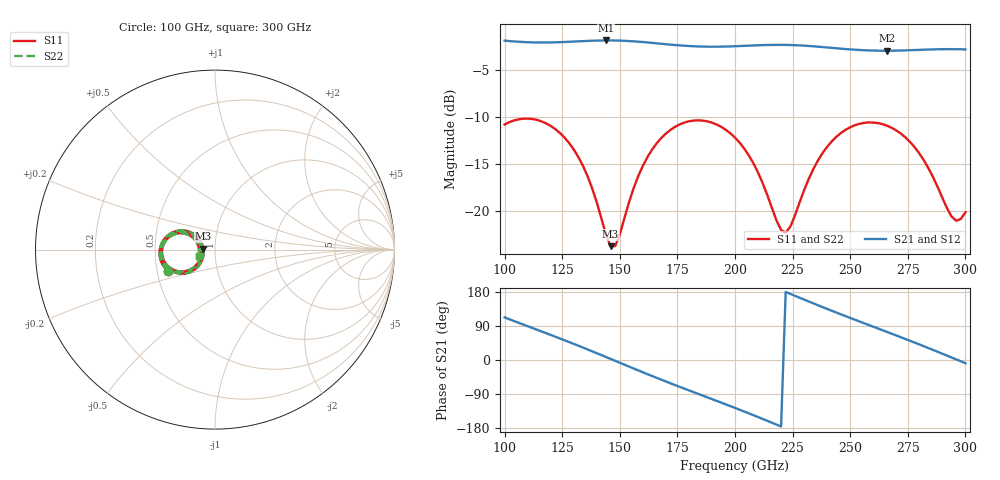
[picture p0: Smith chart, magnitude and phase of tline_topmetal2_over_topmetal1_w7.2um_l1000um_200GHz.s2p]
#  GHZ S DB R 50
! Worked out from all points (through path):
!   101 points, 100 GHz to 300 GHz, reference 50 ohm
!   highest |S21| = -1.86 dB at 144 GHz (marker M1); lowest = -2.9 dB at 266 GHz (marker M2)
!   group delay of S21, straight-line fit = 6.69 ps
!   lowest |S11| = -23.7 dB at 146 GHz (marker M3), VSWR 1.14, Z = 43.9 + j0.511 ohm
!   |S11| at or under -10 dB: start of sweep to end of sweep
!   |S22| runs from -23.7 to -10.2 dB; largest |S21 - S12| = 1.3e-13
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100  -10.79 -155.8  -1.88 112.4  -1.88 112.4  -10.79 -155.6
116  -10.46 173.6  -2.08 75.4  -2.08 75.4  -10.45 173.7
124  -11.69 159.2  -2.04 56.8  -2.04 56.8  -11.68 159.3
134  -15.18 145.0  -1.93 32.8  -1.93 32.8  -15.17 145.1
144  -22.48 159.3  -1.86 7.9  -1.86 7.9  -22.50 159.1
146  -23.72 174.9  -1.86 2.9  -1.86 2.9  -23.75 174.8
148  -23.71 -166.2  -1.87 -2.2  -1.87 -2.2  -23.75 -166.2
156  -17.56 -135.0  -1.95 -22.4  -1.95 -22.4  -17.58 -134.8
168  -12.23 -147.3  -2.21 -51.9  -2.21 -51.9  -12.23 -147.2
184  -10.35 -175.3  -2.49 -89.4  -2.49 -89.4  -10.35 -175.2
200  -12.18 157.7  -2.47 -126.5  -2.47 -126.5  -12.18 157.8
212  -17.01 147.4  -2.36 -155.5  -2.36 -155.5  -17.02 147.4
218  -20.98 160.7  -2.33 -170.5  -2.33 -170.5  -21.02 160.6
222  -22.27 -173.6  -2.33 179.5  -2.33 179.5  -22.34 -173.5
234  -15.52 -140.7  -2.48 149.5  -2.48 149.5  -15.55 -140.4
250  -11.08 -161.3  -2.81 111.0  -2.81 111.0  -11.09 -161.0
266  -10.92 172.3  -2.95 74.0  -2.95 74.0  -10.92 172.6
268  -11.14 169.1  -2.95 69.4  -2.95 69.4  -11.14 169.4
278  -13.21 155.3  -2.88 45.8  -2.88 45.8  -13.21 155.6
286  -16.40 151.0  -2.81 26.4  -2.81 26.4  -16.41 151.3
294  -20.56 169.7  -2.78 6.6  -2.78 6.6  -20.58 170.0
300  -20.12 -158.7  -2.81 -8.4  -2.81 -8.4  -20.14 -158.3
